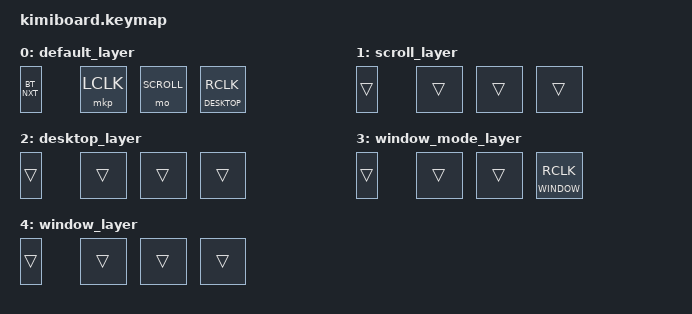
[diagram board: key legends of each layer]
#include <behaviors.dtsi>
#include <dt-bindings/zmk/bt.h>
#include <dt-bindings/zmk/keys.h>
#include <dt-bindings/zmk/mouse.h>
#include <dt-bindings/zmk/pointing.h>
#include <input/processors.dtsi>
#include <behaviors/rgbled_widget.dtsi>
#include <mouse-gesture.dtsi>

#define DEFAULT 0
#define SCROLL 1
#define DESKTOP 2
#define WINDOW_MODE 3
#define WINDOW 4

/ {
    keymap {
        compatible = "zmk,keymap";

        default_layer {
            bindings = <
                &bt BT_NXT  &mkp LCLK  &mo SCROLL  &mo_mkp DESKTOP RCLK
            >;
        };

        scroll_layer {
            bindings = <
                &trans  &trans  &trans  &trans
            >;
        };

        desktop_layer {
            bindings = <
                &trans  &trans  &trans  &trans
            >;
        };

        window_mode_layer {
            bindings = <
                &trans  &trans  &trans  &mo_mkp WINDOW RCLK
            >;
        };

        window_layer {
            bindings = <
                &trans  &trans  &trans  &trans
            >;
        };
    };

    combos {
        compatible = "zmk,combos";

        combo_bt_clear {
            bindings = <&bt BT_CLR>;
            key-positions = <0 3>;
            timeout-ms = <50>;  // default: 50
        };

        combo_window_mode {
            bindings = <&tog WINDOW_MODE>;
            key-positions = <2 3>;
            timeout-ms = <50>;  // default: 50
        };
    };

    behaviors {
        // Tap = mouse click (param2); hold 200ms+ = momentary layer (param1)
        mo_mkp: mo_mkp {
            compatible = "zmk,behavior-hold-tap";
            #binding-cells = <2>;
            bindings = <&mo>, <&mkp>;
            flavor = "tap-preferred";  // default: hold-preferred
            tapping-term-ms = <200>;
        };
    };

    // Scroll & Navigate gestures on the Key 2 hold
    zip_scroll_gesture: zip_scroll_gesture {
        compatible = "zmk,input-processor-mouse-gesture";
        #input-processor-cells = <0>;
        stroke-size = <100>;  // default: 200
        enable-eager-mode;
        always-active;
        gesture-cooldown-ms = <200>;  // default: 500

        forward {
            pattern = <GESTURE_LEFT>;
            bindings = <&kp LG(RBKT)>;
        };

        back {
            pattern = <GESTURE_RIGHT>;
            bindings = <&kp LG(LBKT)>;
        };
    };

    // Spaces & Mission Control gestures on the right button hold
    zip_desktop_gesture: zip_desktop_gesture {
        compatible = "zmk,input-processor-mouse-gesture";
        #input-processor-cells = <0>;
        stroke-size = <100>;  // default: 200
        enable-eager-mode;
        always-active;
        gesture-cooldown-ms = <200>;  // default: 500

        mission_control {
            pattern = <GESTURE_UP>;
            bindings = <&kp LC(UP)>;
        };

        app_expose {
            pattern = <GESTURE_DOWN>;
            bindings = <&kp LC(DOWN)>;
        };

        space_left {
            pattern = <GESTURE_LEFT>;
            bindings = <&kp LC(RIGHT)>;
        };

        space_right {
            pattern = <GESTURE_RIGHT>;
            bindings = <&kp LC(LEFT)>;
        };
    };

    // Window-split (Rectangle.app, left/right) + browser tab switching (up/down) on the right button hold
    zip_window_gesture: zip_window_gesture {
        compatible = "zmk,input-processor-mouse-gesture";
        #input-processor-cells = <0>;
        stroke-size = <100>;  // default: 200
        enable-eager-mode;
        always-active;
        gesture-cooldown-ms = <200>;  // default: 500

        left_third {
            pattern = <GESTURE_LEFT>;
            bindings = <&kp LC(LA(D))>;
        };

        right_two_thirds {
            pattern = <GESTURE_RIGHT>;
            bindings = <&kp LC(LA(T))>;
        };

        tab_previous {
            pattern = <GESTURE_UP>;
            bindings = <&kp LC(LS(TAB))>;
        };

        tab_next {
            pattern = <GESTURE_DOWN>;
            bindings = <&kp LC(TAB)>;
        };
    };
};

&trackball_listener {
    scroll {
        layers = <SCROLL>;
        input-processors = <&zip_scroll_gesture &zip_x_scaler 0 1 &zip_xy_to_scroll_mapper &zip_scroll_scaler (-1) 48>;
    };

    desktop {
        layers = <DESKTOP>;
        // recognize gesture first, then zero movement so the cursor stays put
        input-processors = <&zip_desktop_gesture &zip_x_scaler 0 1 &zip_y_scaler 0 1>;
    };

    window {
        layers = <WINDOW>;
        // recognize gesture first, then zero movement so the cursor stays put
        input-processors = <&zip_window_gesture &zip_x_scaler 0 1 &zip_y_scaler 0 1>;
    };
};
